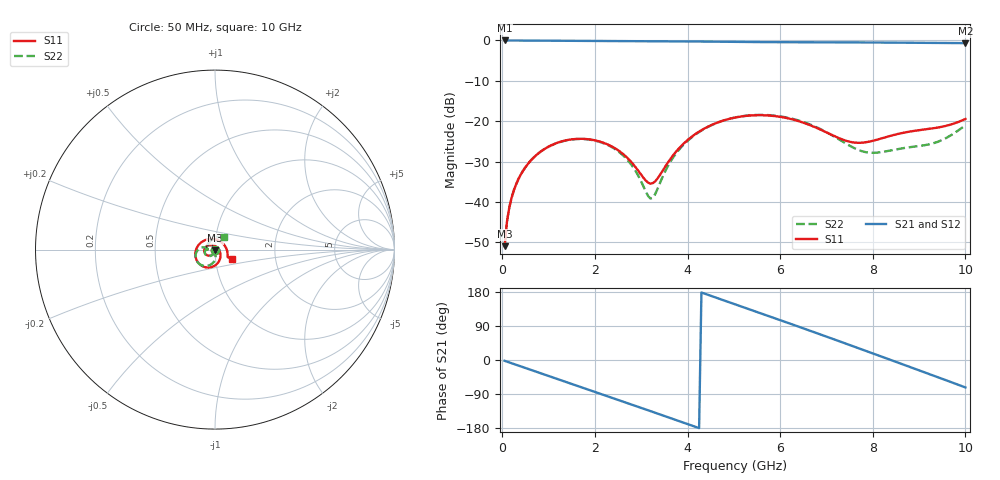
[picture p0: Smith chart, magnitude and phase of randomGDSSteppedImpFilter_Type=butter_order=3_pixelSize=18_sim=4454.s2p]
! freq	dB(S11)	phase(S11)	dB(S12)	phase(S12)
!  dB(S21)	phase(S21)	dB(S22)	phase(S22)
!S-par simulation data
#  GHz  S  DB  R 50
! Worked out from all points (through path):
!   200 points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, 50 MHz to 10 GHz, reference 50 ohm
!   highest |S21| = 0.00 dB at 50 MHz (marker M1); lowest = -0.7 dB at 10 GHz (marker M2)
!   group delay of S21, straight-line fit = 120 ps
!   lowest |S11| = -51.0 dB at 50 MHz (marker M3), VSWR 1.01, Z = 50 - j0.282 ohm
!   |S11| at or under -10 dB: start of sweep to end of sweep
!   |S22| runs from -50.9 to -18.4 dB; largest |S21 - S12| = 0
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0.05  -50.98 -91.3  -0.00 -2.1  -0.00 -2.1  -50.92 -90.9
0.1  -44.98 -93.9  -0.00 -4.3  -0.00 -4.3  -44.93 -93.3
0.2  -39.02 -98.6  -0.01 -8.5  -0.01 -8.5  -39.01 -97.5
0.5  -31.41 -112.8  -0.03 -21.1  -0.03 -21.1  -31.39 -110.5
1.05  -26.02 -138.4  -0.06 -44.2  -0.06 -44.2  -26.04 -132.9
1.75  -24.38 -171.5  -0.10 -73.6  -0.10 -73.6  -24.43 -159.9
2.2  -25.42 165.2  -0.11 -92.5  -0.11 -92.5  -25.54 -175.8
2.6  -28.07 139.9  -0.13 -109.4  -0.13 -109.4  -28.41 173.1
2.85  -31.01 117.1  -0.14 -120.0  -0.14 -120.0  -31.84 171.8
3.2  -35.48 50.2  -0.16 -134.9  -0.16 -134.9  -39.17 -142.9
3.4  -33.41 0.9  -0.18 -143.4  -0.18 -143.4  -35.44 -96.0
3.7  -28.29 -38.7  -0.20 -156.2  -0.20 -156.2  -28.83 -85.3
4.05  -24.21 -64.5  -0.24 -171.2  -0.24 -171.2  -24.39 -92.1
4.55  -20.79 -92.6  -0.30 167.4  -0.30 167.4  -20.83 -108.4
5.05  -19.06 -117.8  -0.36 146.0  -0.36 146.0  -19.03 -126.6
5.9  -18.77 -160.6  -0.43 109.6  -0.43 109.6  -18.66 -157.5
6.7  -21.24 152.4  -0.45 74.9  -0.45 74.9  -21.08 177.2
7.15  -23.60 116.8  -0.47 55.1  -0.47 55.1  -23.70 168.7
7.6  -25.30 70.1  -0.48 35.2  -0.48 35.2  -26.68 170.7
8.35  -23.74 1.6  -0.53 1.8  -0.53 1.8  -27.33 -178.7
9.1  -22.08 -27.8  -0.59 -31.7  -0.59 -31.7  -25.99 142.9
10  -19.46 -29.2  -0.66 -72.4  -0.66 -72.4  -21.05 55.1
